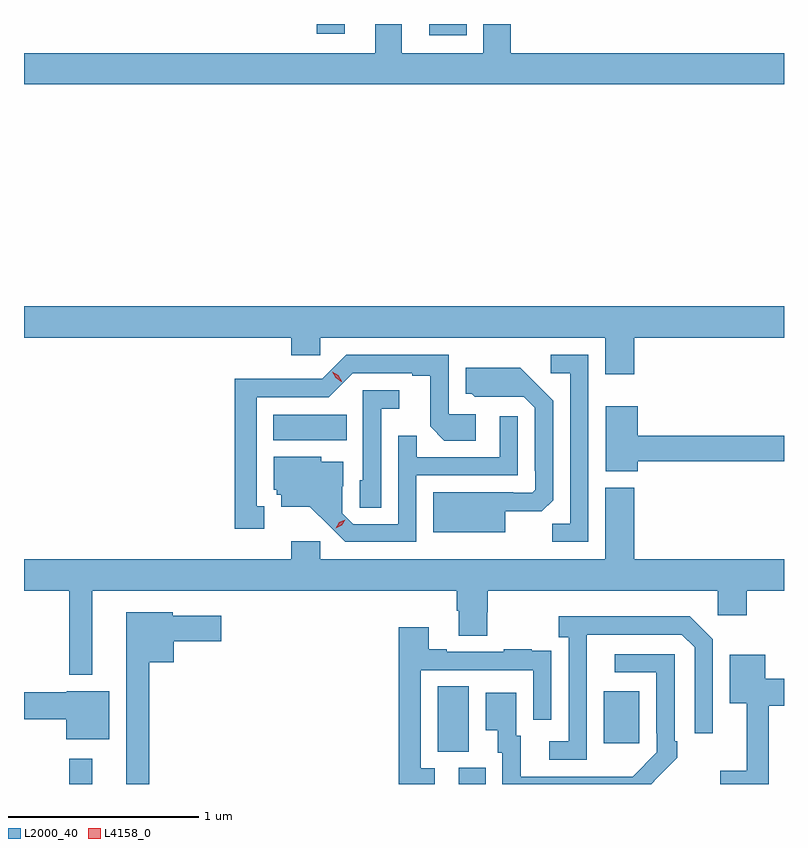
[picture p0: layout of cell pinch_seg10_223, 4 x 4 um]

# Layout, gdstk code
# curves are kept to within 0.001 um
import gdstk
lib = gdstk.Library(unit=1e-6, precision=1e-09)
def R(c, l, rs):  # rectangles x0, y0, x1, y1
    for r in rs: c.add(gdstk.rectangle(r[:2], r[2:], *l))
def P(c, l, *ps):  # polygons
    for p in ps: c.add(gdstk.Polygon(p, *l))
L2000_40 = (2000, 40)
L4158_0 = (4158, 0)

pinch_seg10_223 = lib.new_cell('pinch_seg10_223')
R(pinch_seg10_223, L2000_40, [(621.144,1299.298,621.265,1299.43), (623.195,1299.298,623.335,1299.384), (623.084,1299.469,623.248,1299.812), (623.957,1299.513,624.145,1299.787), (622.217,1301.108,622.604,1301.242), (623.039,1303.238,623.235,1303.298), (622.448,1303.248,622.594,1303.298)])
P(pinch_seg10_223, L2000_40, [(624.906,1303.144),(623.468,1303.144),(623.468,1303.298),(623.324,1303.298),(623.324,1303.144),(622.894,1303.144),(622.894,1303.298),(622.754,1303.298),(622.754,1303.144),(620.906,1303.144),(620.906,1302.98),(624.906,1302.98)],
  [(624.119,1301.648),(624.906,1301.648),(624.906,1301.812),(620.906,1301.812),(620.906,1301.648),(622.313,1301.648),(622.313,1301.555),(622.464,1301.555),(622.464,1301.648),(623.966,1301.648),(623.966,1301.454),(624.119,1301.454)],
  [(622.171,1300.761),(622.132,1300.761),(622.132,1301.334),(622.509,1301.334),(622.635,1301.46),(622.949,1301.46),(622.949,1301.448),(623.043,1301.448),(623.043,1301.18),(623.119,1301.104),(623.284,1301.104),(623.284,1301.244),(623.142,1301.244),(623.142,1301.556),(622.602,1301.556),(622.476,1301.43),(622.254,1301.43),(622.254,1301.432),(622.014,1301.432),(622.014,1300.641),(622.171,1300.641)],
  [(623.877,1301.556),(623.679,1301.556),(623.679,1301.46),(623.781,1301.46),(623.781,1300.667),(623.686,1300.667),(623.686,1300.572),(623.877,1300.572)],
  [(623.44,1300.733),(623.632,1300.733),(623.691,1300.792),(623.691,1301.314),(623.519,1301.488),(623.231,1301.488),(623.231,1301.352),(623.262,1301.352),(623.278,1301.336),(623.535,1301.337),(623.595,1301.277),(623.595,1300.948),(623.598,1300.948),(623.598,1300.848),(623.58,1300.83),(623.48,1300.83),(623.48,1300.834),(623.06,1300.834),(623.06,1300.622),(623.44,1300.622)],
  [(622.785,1301.273),(622.882,1301.273),(622.882,1301.37),(622.689,1301.37),(622.689,1300.896),(622.674,1300.896),(622.674,1300.753),(622.785,1300.753)],
  [(624.136,1300.996),(624.906,1300.996),(624.906,1301.132),(624.136,1301.132),(624.136,1301.287),(623.969,1301.287),(623.969,1300.943),(624.136,1300.943)],
  [(622.971,1300.923),(623.505,1300.923),(623.505,1301.233),(623.409,1301.233),(623.409,1301.019),(622.973,1301.019),(622.973,1301.132),(622.875,1301.132),(622.875,1300.665),(622.638,1300.665),(622.581,1300.722),(622.581,1300.864),(622.585,1300.864),(622.585,1300.993),(622.47,1300.993),(622.47,1301.02),(622.22,1301.02),(622.22,1300.848),(622.236,1300.848),(622.236,1300.821),(622.259,1300.821),(622.259,1300.757),(622.411,1300.757),(622.598,1300.572),(622.971,1300.572)],
  [(621.265,1300.316),(623.183,1300.316),(623.183,1300.21),(623.195,1300.21),(623.195,1300.078),(623.343,1300.078),(623.343,1300.203),(623.348,1300.203),(623.348,1300.316),(624.558,1300.316),(624.558,1300.185),(624.71,1300.185),(624.71,1300.316),(624.906,1300.316),(624.906,1300.48),(624.119,1300.48),(624.119,1300.858),(623.966,1300.858),(623.966,1300.48),(622.464,1300.48),(622.464,1300.576),(622.313,1300.576),(622.313,1300.48),(620.906,1300.48),(620.906,1300.316),(621.144,1300.316),(621.144,1299.872),(621.265,1299.872)],
  [(621.565,1299.938),(621.694,1299.938),(621.694,1300.049),(621.943,1300.049),(621.943,1300.183),(621.69,1300.183),(621.69,1300.201),(621.443,1300.201),(621.443,1299.298),(621.565,1299.298)],
  [(623.868,1299.883),(623.869,1300.083),(624.369,1300.083),(624.435,1300.017),(624.435,1299.564),(624.531,1299.564),(624.531,1300.059),(624.41,1300.18),(623.721,1300.18),(623.721,1300.07),(623.772,1300.07),(623.772,1299.522),(623.67,1299.522),(623.67,1299.426),(623.868,1299.426)],
  [(623.068,1299.381),(622.995,1299.381),(622.995,1299.897),(623.586,1299.897),(623.586,1299.636),(623.682,1299.636),(623.682,1299.89),(623.681,1299.89),(623.681,1299.999),(623.579,1299.999),(623.579,1300.006),(623.431,1300.006),(623.431,1299.993),(623.131,1299.993),(623.131,1300.006),(623.035,1300.006),(623.035,1300.123),(622.879,1300.123),(622.879,1299.298),(623.068,1299.298)],
  [(624.239,1299.331),(624.24,1299.33),(624.345,1299.435),(624.345,1299.523),(624.33,1299.523),(624.33,1299.981),(624.015,1299.981),(624.015,1299.885),(624.234,1299.885),(624.234,1299.565),(624.237,1299.565),(624.237,1299.465),(624.109,1299.337),(623.521,1299.336),(623.521,1299.552),(623.497,1299.552),(623.497,1299.778),(623.336,1299.778),(623.336,1299.581),(623.399,1299.581),(623.399,1299.462),(623.424,1299.462),(623.424,1299.298),(624.206,1299.298)],
  [(624.827,1299.71),(624.906,1299.71),(624.906,1299.852),(624.808,1299.852),(624.808,1299.979),(624.62,1299.979),(624.62,1299.722),(624.71,1299.722),(624.71,1299.367),(624.57,1299.367),(624.57,1299.298),(624.827,1299.298)],
  [(621.355,1299.787),(621.132,1299.787),(621.132,1299.782),(620.906,1299.782),(620.906,1299.64),(621.128,1299.64),(621.128,1299.533),(621.355,1299.533)])
P(pinch_seg10_223, L4158_0, [(622.548,1300.645),(622.548,1300.645),(622.566,1300.675),(622.596,1300.69),(622.597,1300.69),(622.597,1300.69),(622.579,1300.66),(622.548,1300.645)],
  [(622.577,1301.416),(622.546,1301.435),(622.528,1301.468),(622.528,1301.468),(622.529,1301.468),(622.56,1301.449),(622.578,1301.417),(622.578,1301.416)])

lib.write_gds('pinch_seg10_223.gds')
